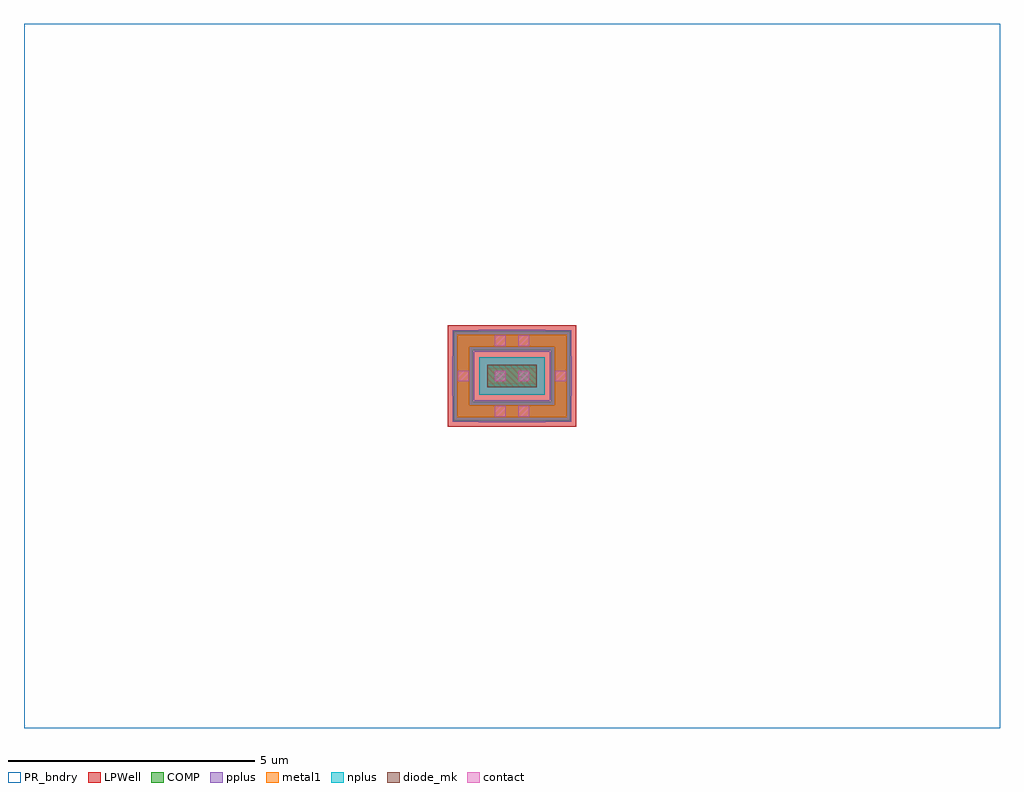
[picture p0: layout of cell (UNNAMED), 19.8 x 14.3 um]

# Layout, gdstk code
import gdstk
lib = gdstk.Library(unit=1e-6, precision=1e-09)
def R(c, l, rs):  # rectangles x0, y0, x1, y1
    for r in rs: c.add(gdstk.rectangle(r[:2], r[2:], *l))
def A(c, l, x, y, w, h, nx, ny, dx, dy):  # array of equal rectangles
    R(c, l, [(x+i*dx, y+j*dy, x+i*dx+w, y+j*dy+h) for i in range(nx) for j in range(ny)])
PR_bndry = (0, 0)
COMP = (22, 0)
pplus = (31, 0)
nplus = (32, 0)
contact = (33, 0)
metal1 = (34, 0)
diode_mk = (115, 5)
LPWell = (204, 0)

c__unnamed_ = lib.new_cell('(UNNAMED)')
R(c__unnamed_, PR_bndry, [(-9.9,-7.15,9.9,7.15)])
R(c__unnamed_, COMP, [(-1.18,-0.905,1.18,-0.525), (-1.18,-0.525,-0.8,0.525), (0.8,-0.525,1.18,0.525), (-0.5,-0.225,0.5,0.225), (-1.18,0.525,1.18,0.905)])
R(c__unnamed_, pplus, [(-0.675,-0.935,0.675,-0.925), (-1.2,-0.925,1.2,-0.495), (-1.2,-0.495,-0.77,-0.4), (0.77,-0.495,1.2,-0.4), (-1.21,-0.4,-0.77,0.4), (0.77,-0.4,1.21,0.4), (-1.2,0.4,-0.77,0.495), (0.77,0.4,1.2,0.495), (-1.2,0.495,1.2,0.925), (-0.675,0.925,0.675,0.935)])
R(c__unnamed_, nplus, [(-0.66,-0.385,0.66,0.385)])
A(c__unnamed_, contact, -0.345, -0.825, 0.22, 0.22, 1, 3, 0, 0.715)
A(c__unnamed_, contact, 0.125, -0.825, 0.22, 0.22, 1, 3, 0, 0.715)
R(c__unnamed_, contact, [(-1.1,-0.11,-0.88,0.11), (0.88,-0.11,1.1,0.11)])
R(c__unnamed_, metal1, [(-1.115,-0.84,1.115,-0.59), (-1.115,-0.59,-0.865,0.59), (0.865,-0.59,1.115,0.59), (-0.49,-0.16,0.49,0.16), (-1.115,0.59,1.115,0.84)])
R(c__unnamed_, diode_mk, [(-0.5,-0.225,0.5,0.225)])
R(c__unnamed_, LPWell, [(-1.3,-1.025,1.3,1.025)])

lib.write_gds('_UNNAMED_.gds')
